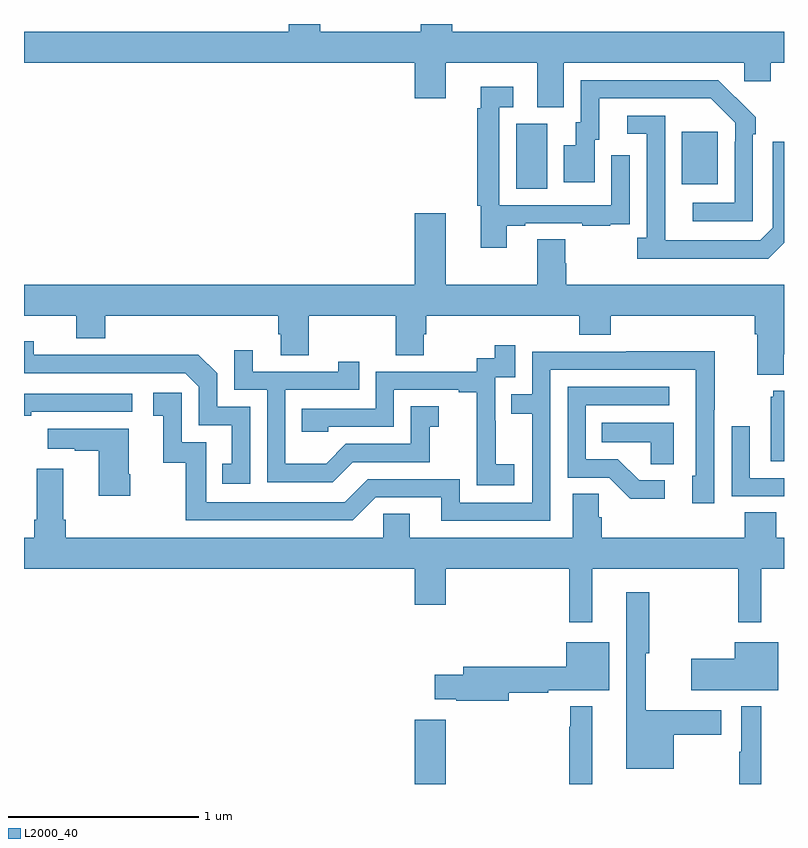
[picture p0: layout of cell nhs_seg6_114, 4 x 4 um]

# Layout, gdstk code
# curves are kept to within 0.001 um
import gdstk
lib = gdstk.Library(unit=1e-6, precision=1e-09)
def R(c, l, rs):  # rectangles x0, y0, x1, y1
    for r in rs: c.add(gdstk.rectangle(r[:2], r[2:], *l))
def P(c, l, *ps):  # polygons
    for p in ps: c.add(gdstk.Polygon(p, *l))
L2000_40 = (2000, 40)

nhs_seg6_114 = lib.new_cell('nhs_seg6_114')
R(nhs_seg6_114, L2000_40, [(117.056,983.5,117.22,983.839), (117.59,986.632,117.754,986.976), (118.463,986.657,118.651,986.932)])
P(nhs_seg6_114, L2000_40, [(117.841,987.296),(118.791,987.296),(118.791,987.198),(118.93,987.198),(118.93,987.296),(119,987.296),(119,987.46),(117.254,987.46),(117.254,987.5),(117.089,987.5),(117.089,987.46),(116.558,987.46),(116.558,987.5),(116.393,987.5),(116.393,987.46),(115,987.46),(115,987.296),(117.056,987.296),(117.056,987.108),(117.22,987.108),(117.22,987.296),(117.701,987.296),(117.701,987.061),(117.841,987.061)],
  [(118.836,986.921),(118.851,986.921),(118.851,987.009),(118.654,987.204),(117.93,987.204),(117.93,986.982),(117.905,986.982),(117.905,986.863),(117.842,986.863),(117.842,986.667),(118.003,986.667),(118.003,986.892),(118.027,986.892),(118.027,987.108),(118.615,987.108),(118.743,986.979),(118.743,986.879),(118.74,986.879),(118.74,986.559),(118.521,986.559),(118.521,986.463),(118.836,986.463)],
  [(117.541,986.439),(117.637,986.439),(117.637,986.451),(117.937,986.451),(117.937,986.439),(118.085,986.439),(118.085,986.445),(118.187,986.445),(118.187,986.554),(118.188,986.554),(118.188,986.809),(118.092,986.809),(118.092,986.547),(117.501,986.547),(117.501,987.063),(117.574,987.063),(117.574,987.169),(117.404,987.169),(117.404,987.056),(117.385,987.056),(117.385,986.544),(117.404,986.544),(117.404,986.322),(117.541,986.322)],
  [(119,986.348),(119,986.881),(118.941,986.881),(118.941,986.427),(118.875,986.361),(118.375,986.361),(118.374,987.018),(118.176,987.018),(118.176,986.922),(118.278,986.922),(118.278,986.374),(118.227,986.374),(118.227,986.264),(118.916,986.264)],
  [(118.999,985.762),(119,985.762),(119,986.128),(117.854,986.128),(117.854,986.241),(117.849,986.241),(117.849,986.366),(117.701,986.366),(117.701,986.128),(117.22,986.128),(117.22,986.503),(117.056,986.503),(117.056,986.128),(115,986.128),(115,985.964),(115.274,985.964),(115.274,985.847),(115.427,985.847),(115.427,985.964),(116.339,985.964),(116.339,985.866),(116.351,985.866),(116.351,985.756),(116.499,985.756),(116.499,985.964),(116.956,985.964),(116.956,985.756),(117.103,985.756),(117.103,985.866),(117.116,985.866),(117.116,985.964),(117.923,985.964),(117.923,985.865),(118.088,985.865),(118.088,985.964),(118.847,985.964),(118.847,985.868),(118.859,985.868),(118.859,985.655),(118.999,985.655)],
  [(116.19,985.485),(116.016,985.485),(116.016,985.662),(115.918,985.76),(115.51,985.76),(115.51,985.758),(115.05,985.758),(115.05,985.831),(115,985.831),(115,985.662),(115.848,985.662),(115.92,985.59),(115.92,985.389),(116.093,985.389),(116.093,985.185),(116.044,985.185),(116.044,985.08),(116.19,985.08)],
  [(117.58,985.183),(117.482,985.183),(117.482,985.412),(117.48,985.412),(117.48,985.641),(117.585,985.641),(117.585,985.81),(117.477,985.81),(117.477,985.74),(117.384,985.74),(117.384,985.671),(116.85,985.671),(116.85,985.476),(116.461,985.476),(116.461,985.353),(116.601,985.353),(116.601,985.38),(116.946,985.38),(116.946,985.575),(117.287,985.575),(117.287,985.563),(117.383,985.563),(117.383,985.279),(117.382,985.279),(117.382,985.073),(117.58,985.073)],
  [(116.731,985.194),(117.135,985.194),(117.135,985.379),(117.184,985.379),(117.184,985.489),(117.036,985.489),(117.036,985.29),(116.694,985.29),(116.59,985.186),(116.376,985.186),(116.376,985.575),(116.765,985.575),(116.765,985.723),(116.654,985.723),(116.654,985.671),(116.203,985.671),(116.203,985.783),(116.106,985.783),(116.106,985.575),(116.28,985.575),(116.28,985.089),(116.626,985.089)],
  [(117.771,985.68),(118.536,985.68),(118.536,985.122),(118.517,985.122),(118.517,984.978),(118.632,984.978),(118.632,985.471),(118.635,985.471),(118.635,985.778),(118.171,985.778),(118.171,985.776),(117.675,985.776),(117.675,985.551),(117.565,985.551),(117.565,985.45),(117.675,985.45),(117.675,984.981),(117.294,984.981),(117.294,985.104),(116.808,985.104),(116.688,984.984),(115.959,984.984),(115.959,985.299),(115.83,985.299),(115.83,985.558),(115.68,985.558),(115.68,985.437),(115.733,985.437),(115.733,985.191),(115.851,985.191),(115.851,984.888),(116.73,984.888),(116.85,985.008),(117.197,985.008),(117.197,984.885),(117.771,984.885)],
  [(118.372,985.098),(118.237,985.098),(118.126,985.209),(117.957,985.209),(117.957,985.494),(118.396,985.494),(118.396,985.59),(117.861,985.59),(117.861,985.113),(118.08,985.113),(118.193,985.001),(118.372,985.001)],
  [(119,985.57),(118.943,985.57),(118.943,985.539),(118.931,985.539),(118.931,985.199),(119,985.199)],
  [(115.037,985.458),(115.57,985.458),(115.57,985.554),(115,985.554),(115,985.438),(115.037,985.438)],
  [(118.42,985.402),(118.042,985.402),(118.042,985.298),(118.299,985.298),(118.299,985.183),(118.42,985.183)],
  [(119,985.11),(118.821,985.11),(118.821,985.384),(118.725,985.384),(118.725,985.014),(119,985.014)],
  [(115.56,985.129),(115.552,985.129),(115.552,985.369),(115.125,985.369),(115.125,985.265),(115.268,985.265),(115.268,985.255),(115.394,985.255),(115.394,985.017),(115.56,985.017)],
  [(117.991,984.632),(118.758,984.632),(118.758,984.351),(118.879,984.351),(118.879,984.632),(119,984.632),(119,984.796),(118.958,984.796),(118.958,984.929),(118.793,984.929),(118.793,984.796),(118.04,984.796),(118.04,984.905),(118.026,984.905),(118.026,985.028),(117.887,985.028),(117.887,984.796),(117.031,984.796),(117.031,984.923),(116.892,984.923),(116.892,984.796),(115.22,984.796),(115.22,984.892),(115.207,984.892),(115.207,985.159),(115.067,985.159),(115.067,984.892),(115.055,984.892),(115.055,984.796),(115,984.796),(115,984.632),(117.056,984.632),(117.056,984.444),(117.22,984.444),(117.22,984.632),(117.87,984.632),(117.87,984.351),(117.991,984.351)],
  [(118.42,983.758),(118.669,983.758),(118.669,983.887),(118.273,983.887),(118.273,984.189),(118.291,984.189),(118.291,984.508),(118.169,984.508),(118.169,983.579),(118.42,983.579)],
  [(117.55,983.98),(117.758,983.98),(117.758,983.993),(118.081,983.993),(118.081,984.247),(117.854,984.247),(117.854,984.116),(117.311,984.116),(117.311,984.075),(117.162,984.075),(117.162,983.945),(117.274,983.945),(117.274,983.938),(117.55,983.938)],
  [(118.969,984.247),(118.742,984.247),(118.742,984.159),(118.512,984.159),(118.512,983.993),(118.969,983.993)],
  [(117.991,983.908),(117.876,983.908),(117.876,983.801),(117.87,983.801),(117.87,983.5),(117.991,983.5)],
  [(118.879,983.908),(118.775,983.908),(118.775,983.669),(118.765,983.669),(118.765,983.5),(118.879,983.5)])

lib.write_gds('nhs_seg6_114.gds')
